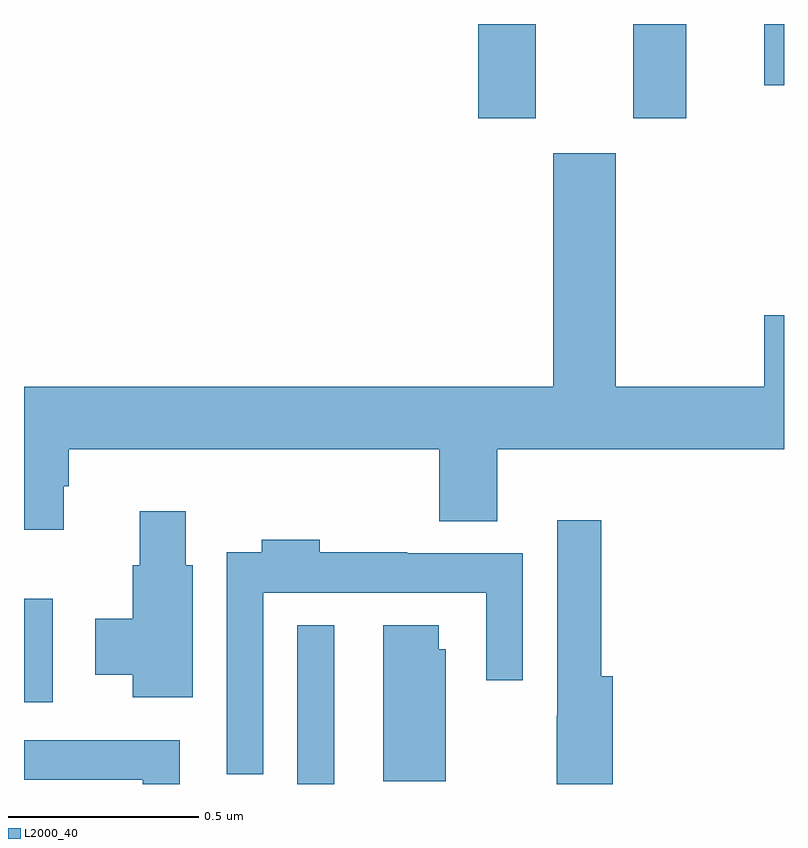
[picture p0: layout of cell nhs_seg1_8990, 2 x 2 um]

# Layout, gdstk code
import gdstk
lib = gdstk.Library(unit=1e-6, precision=1e-09)
def R(c, l, rs):  # rectangles x0, y0, x1, y1
    for r in rs: c.add(gdstk.rectangle(r[:2], r[2:], *l))
def P(c, l, *ps):  # polygons
    for p in ps: c.add(gdstk.Polygon(p, *l))
L2000_40 = (2000, 40)

nhs_seg1_8990 = lib.new_cell('nhs_seg1_8990')
R(nhs_seg1_8990, L2000_40, [(223.719,536.199,223.816,536.617), (223,536.414,223.075,536.686), (224.195,537.951,224.347,538.199), (224.603,537.951,224.743,538.199), (224.948,538.038,225,538.199)])
P(nhs_seg1_8990, L2000_40, [(223.105,536.982),(223.118,536.982),(223.118,537.08),(224.093,537.08),(224.093,536.891),(224.245,536.891),(224.245,537.08),(225,537.08),(225,537.433),(224.948,537.433),(224.948,537.244),(224.557,537.244),(224.557,537.859),(224.393,537.859),(224.393,537.244),(223,537.244),(223,536.868),(223.105,536.868)],
  [(223.444,536.775),(223.426,536.775),(223.426,536.917),(223.304,536.917),(223.304,536.775),(223.286,536.775),(223.286,536.634),(223.187,536.634),(223.187,536.486),(223.286,536.486),(223.286,536.427),(223.444,536.427)],
  [(224.549,536.482),(224.519,536.482),(224.519,536.893),(224.403,536.893),(224.403,536.378),(224.402,536.378),(224.402,536.199),(224.549,536.199)],
  [(223.629,536.702),(224.217,536.702),(224.217,536.472),(224.313,536.472),(224.313,536.806),(224.009,536.806),(224.009,536.809),(223.778,536.809),(223.778,536.842),(223.625,536.842),(223.625,536.809),(223.533,536.809),(223.533,536.225),(223.629,536.225)],
  [(224.11,536.553),(224.092,536.553),(224.092,536.617),(223.946,536.617),(223.946,536.206),(224.11,536.206)],
  [(223.41,536.314),(223,536.314),(223,536.21),(223.313,536.21),(223.313,536.199),(223.41,536.199)])

lib.write_gds('nhs_seg1_8990.gds')
